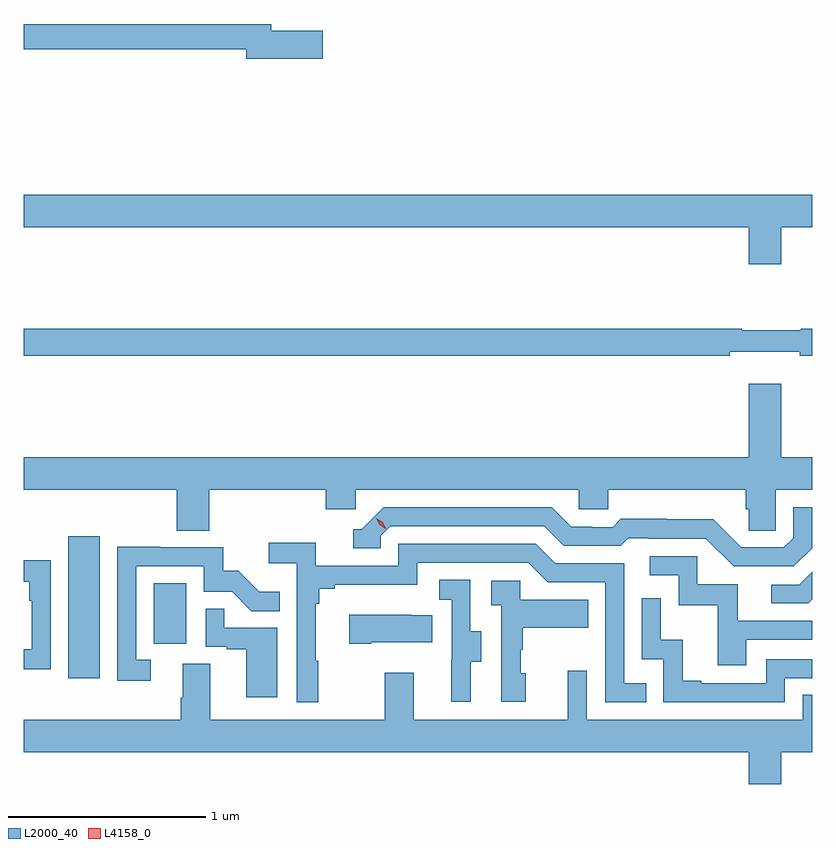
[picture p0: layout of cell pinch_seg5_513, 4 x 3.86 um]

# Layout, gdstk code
import gdstk
lib = gdstk.Library(unit=1e-6, precision=1e-09)
def R(c, l, rs):  # rectangles x0, y0, x1, y1
    for r in rs: c.add(gdstk.rectangle(r[:2], r[2:], *l))
def P(c, l, *ps):  # polygons
    for p in ps: c.add(gdstk.Polygon(p, *l))
L2000_40 = (2000, 40)
L4158_0 = (4158, 0)

pinch_seg5_513 = lib.new_cell('pinch_seg5_513')
R(pinch_seg5_513, L2000_40, [(928.787,841.152,928.948,841.873), (929.222,841.326,929.386,841.633)])
P(pinch_seg5_513, L2000_40, [(930.079,844.437),(929.818,844.437),(929.818,844.471),(928.562,844.471),(928.562,844.342),(929.69,844.342),(929.69,844.295),(930.079,844.295)],
  [(932.404,843.44),(932.562,843.44),(932.562,843.604),(928.562,843.604),(928.562,843.44),(932.24,843.44),(932.24,843.252),(932.404,843.252)],
  [(932.144,842.807),(932.5,842.807),(932.5,842.788),(932.562,842.788),(932.562,842.924),(932.504,842.924),(932.504,842.917),(932.204,842.917),(932.204,842.924),(928.562,842.924),(928.562,842.788),(932.144,842.788)],
  [(929.504,842.108),(930.095,842.108),(930.095,842.01),(930.246,842.01),(930.246,842.108),(931.377,842.108),(931.377,842.01),(931.527,842.01),(931.527,842.108),(932.225,842.108),(932.225,842.01),(932.239,842.01),(932.239,841.9),(932.376,841.9),(932.376,842.108),(932.562,842.108),(932.562,842.272),(932.404,842.272),(932.404,842.647),(932.24,842.647),(932.24,842.272),(928.562,842.272),(928.562,842.108),(929.339,842.108),(929.339,841.9),(929.504,841.9)],
  [(932.562,841.812),(932.562,842.019),(932.466,842.019),(932.466,841.863),(932.418,841.815),(932.202,841.815),(932.06,841.957),(931.824,841.957),(931.824,841.96),(931.591,841.96),(931.549,841.917),(931.446,841.917),(931.446,841.92),(931.339,841.92),(931.24,842.019),(930.387,842.019),(930.276,841.908),(930.233,841.908),(930.233,841.812),(930.372,841.812),(930.372,841.875),(930.42,841.923),(931.203,841.923),(931.302,841.824),(931.591,841.824),(931.63,841.863),(931.729,841.863),(931.729,841.86),(932.022,841.86),(932.163,841.719),(932.469,841.719)],
  [(930.055,841.241),(930.043,841.241),(930.043,841.529),(930.062,841.529),(930.062,841.606),(930.139,841.606),(930.139,841.625),(930.558,841.625),(930.558,841.737),(931.122,841.737),(931.221,841.638),(931.512,841.638),(931.512,841.029),(931.721,841.029),(931.721,841.125),(931.608,841.125),(931.608,841.734),(931.258,841.734),(931.159,841.833),(930.462,841.833),(930.462,841.722),(930.044,841.722),(930.044,841.838),(929.805,841.838),(929.805,841.736),(929.946,841.736),(929.946,841.029),(930.055,841.029)],
  [(929.206,841.245),(929.133,841.245),(929.133,841.719),(929.475,841.719),(929.475,841.59),(929.619,841.59),(929.717,841.492),(929.861,841.492),(929.861,841.591),(929.757,841.591),(929.65,841.698),(929.574,841.698),(929.574,841.815),(929.255,841.815),(929.255,841.82),(929.037,841.82),(929.037,841.14),(929.206,841.14)],
  [(932.227,841.347),(932.562,841.347),(932.562,841.443),(932.185,841.443),(932.185,841.629),(931.98,841.629),(931.98,841.77),(931.737,841.77),(931.737,841.674),(931.884,841.674),(931.884,841.521),(932.083,841.521),(932.083,841.218),(932.227,841.218)],
  [(928.698,841.75),(928.562,841.75),(928.562,841.64),(928.589,841.64),(928.589,841.544),(928.602,841.544),(928.602,841.299),(928.562,841.299),(928.562,841.198),(928.698,841.198)],
  [(932.562,841.553),(932.562,841.692),(932.496,841.626),(932.355,841.626),(932.355,841.533),(932.542,841.533)],
  [(930.829,841.234),(930.883,841.234),(930.883,841.389),(930.828,841.389),(930.828,841.652),(930.669,841.652),(930.669,841.549),(930.732,841.549),(930.732,841.245),(930.731,841.245),(930.731,841.032),(930.829,841.032)],
  [(931.108,841.176),(931.083,841.176),(931.083,841.295),(931.093,841.295),(931.093,841.409),(931.427,841.409),(931.427,841.549),(931.08,841.549),(931.08,841.647),(930.933,841.647),(930.933,841.523),(930.984,841.523),(930.984,841.032),(931.108,841.032)],
  [(932.424,841.152),(932.562,841.152),(932.562,841.248),(932.328,841.248),(932.328,841.125),(931.999,841.125),(931.999,841.138),(931.904,841.138),(931.904,841.346),(931.794,841.346),(931.794,841.558),(931.698,841.558),(931.698,841.248),(931.806,841.248),(931.806,841.029),(932.424,841.029)],
  [(929.848,841.407),(929.579,841.407),(929.579,841.505),(929.484,841.505),(929.484,841.311),(929.591,841.311),(929.591,841.299),(929.69,841.299),(929.69,841.056),(929.848,841.056)],
  [(930.325,841.334),(930.635,841.334),(930.635,841.471),(930.527,841.471),(930.527,841.474),(930.213,841.474),(930.213,841.327),(930.325,841.327)],
  [(932.404,840.776),(932.562,840.776),(932.562,841.067),(932.514,841.067),(932.514,840.94),(931.419,840.94),(931.419,841.189),(931.322,841.189),(931.322,840.94),(930.541,840.94),(930.541,841.18),(930.394,841.18),(930.394,840.94),(929.509,840.94),(929.509,841.226),(929.369,841.226),(929.369,841.052),(929.357,841.052),(929.357,840.94),(928.562,840.94),(928.562,840.776),(932.24,840.776),(932.24,840.615),(932.404,840.615)])
P(pinch_seg5_513, L4158_0, [(930.397,841.91),(930.367,841.93),(930.351,841.963),(930.351,841.963),(930.351,841.963),(930.382,841.943),(930.398,841.91),(930.398,841.91)])

lib.write_gds('pinch_seg5_513.gds')
